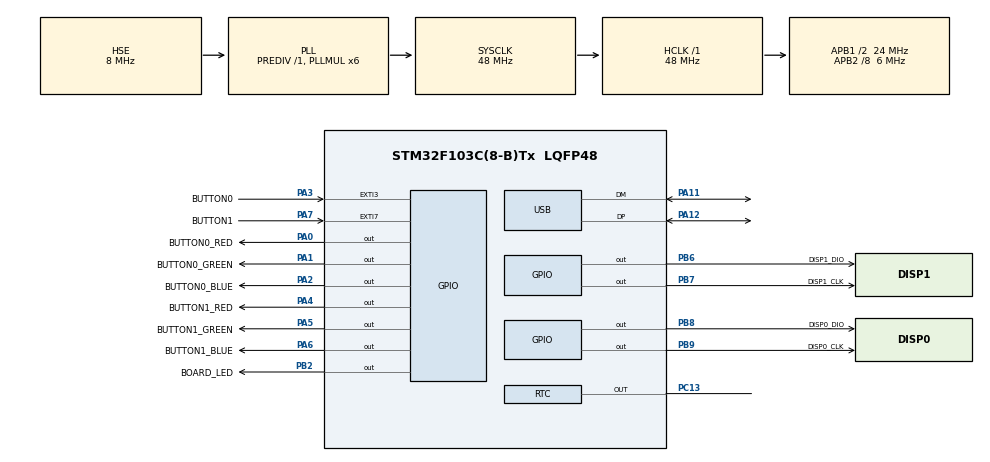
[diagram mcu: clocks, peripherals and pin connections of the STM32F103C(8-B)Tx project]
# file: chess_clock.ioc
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Mcu.Family=STM32F1
Mcu.Name=STM32F103C(8-B)Tx
Mcu.Package=LQFP48
NVIC.EXTI3_IRQn=true\:1\:0\:true\:false\:true\:true\:true\:true
NVIC.EXTI9_5_IRQn=true\:1\:0\:true\:false\:true\:true\:true\:true
NVIC.PriorityGroup=NVIC_PRIORITYGROUP_4
NVIC.RTC_Alarm_IRQn=true\:0\:0\:false\:false\:true\:true\:true\:true
NVIC.RTC_IRQn=true\:0\:0\:false\:false\:true\:true\:true\:true
NVIC.TIM2_IRQn=true\:1\:0\:true\:false\:true\:true\:true\:true
NVIC.TIM3_IRQn=true\:1\:0\:true\:false\:true\:true\:true\:true
NVIC.USB_LP_CAN1_RX0_IRQn=true\:0\:0\:false\:false\:true\:false\:true\:true
PA0-WKUP.GPIO_Label=BUTTON0_RED
PA0-WKUP.PinState=GPIO_PIN_SET
PA0-WKUP.Signal=GPIO_Output
PA1.GPIO_Label=BUTTON0_GREEN
PA1.PinState=GPIO_PIN_SET
PA1.Signal=GPIO_Output
PA11.Mode=Device
PA11.Signal=USB_DM
PA12.Mode=Device
PA12.Signal=USB_DP
PA13.Mode=Serial_Wire
PA13.Signal=SYS_JTMS-SWDIO
PA14.Mode=Serial_Wire
PA14.Signal=SYS_JTCK-SWCLK
PA2.GPIO_Label=BUTTON0_BLUE
PA2.PinState=GPIO_PIN_SET
PA2.Signal=GPIO_Output
PA3.GPIO_Label=BUTTON0
PA3.GPIO_ModeDefaultEXTI=GPIO_MODE_IT_RISING_FALLING
PA3.GPIO_PuPd=GPIO_PULLUP
PA3.Signal=GPXTI3
PA4.GPIO_Label=BUTTON1_RED
PA4.GPIO_ModeDefaultOutputPP=GPIO_MODE_OUTPUT_PP
PA4.GPIO_PuPd=GPIO_NOPULL
PA4.GPIO_Speed=GPIO_SPEED_FREQ_LOW
PA4.PinState=GPIO_PIN_SET
PA4.Signal=GPIO_Output
PA5.GPIO_Label=BUTTON1_GREEN
PA5.GPIO_ModeDefaultOutputPP=GPIO_MODE_OUTPUT_PP
PA5.GPIO_PuPd=GPIO_NOPULL
PA5.GPIO_Speed=GPIO_SPEED_FREQ_LOW
PA5.PinState=GPIO_PIN_SET
PA5.Signal=GPIO_Output
PA6.GPIO_Label=BUTTON1_BLUE
PA6.GPIO_ModeDefaultOutputPP=GPIO_MODE_OUTPUT_PP
PA6.GPIO_PuPd=GPIO_NOPULL
PA6.GPIO_Speed=GPIO_SPEED_FREQ_LOW
PA6.PinState=GPIO_PIN_SET
PA6.Signal=GPIO_Output
PA7.GPIO_Label=BUTTON1
PA7.GPIO_ModeDefaultEXTI=GPIO_MODE_IT_RISING_FALLING
PA7.GPIO_PuPd=GPIO_PULLUP
PA7.Signal=GPXTI7
PB2.GPIO_Label=BOARD_LED
PB2.PinState=GPIO_PIN_SET
PB2.Signal=GPIO_Output
PB6.GPIO_Label=DISP1_DIO
PB6.GPIO_ModeDefaultOutputPP=GPIO_MODE_OUTPUT_OD
PB6.GPIO_PuPd=GPIO_PULLUP
PB6.Signal=GPIO_Output
PB7.GPIO_Label=DISP1_CLK
PB7.GPIO_ModeDefaultOutputPP=GPIO_MODE_OUTPUT_OD
PB7.GPIO_PuPd=GPIO_PULLUP
PB7.Signal=GPIO_Output
PB8.GPIO_Label=DISP0_DIO
PB8.GPIO_ModeDefaultOutputPP=GPIO_MODE_OUTPUT_OD
PB8.GPIO_PuPd=GPIO_PULLUP
PB8.Signal=GPIO_Output
PB9.GPIO_Label=DISP0_CLK
PB9.GPIO_ModeDefaultOutputPP=GPIO_MODE_OUTPUT_OD
PB9.GPIO_PuPd=GPIO_PULLUP
PB9.Signal=GPIO_Output
PC13-TAMPER-RTC.Mode=RTC OUT
PC13-TAMPER-RTC.Signal=RTC_OUT
PC14-OSC32_IN.Mode=LSE-External-Oscillator
PC14-OSC32_IN.Signal=RCC_OSC32_IN
PC15-OSC32_OUT.Mode=LSE-External-Oscillator
PC15-OSC32_OUT.Signal=RCC_OSC32_OUT
PD0-OSC_IN.Mode=HSE-External-Oscillator
PD0-OSC_IN.Signal=RCC_OSC_IN
PD1-OSC_OUT.Mode=HSE-External-Oscillator
PD1-OSC_OUT.Signal=RCC_OSC_OUT
ProjectManager.HeapSize=0x200
ProjectManager.StackSize=0x400
ProjectManager.TargetToolchain=STM32CubeIDE
RCC.AHBFreq_Value=48000000
RCC.APB1CLKDivider=RCC_HCLK_DIV2
RCC.APB1Freq_Value=24000000
RCC.APB1TimFreq_Value=48000000
RCC.APB2CLKDivider=RCC_HCLK_DIV8
RCC.APB2Freq_Value=6000000
RCC.APB2TimFreq_Value=12000000
RCC.HCLKFreq_Value=48000000
RCC.PLLMUL=RCC_PLL_MUL6
RCC.PLLSourceVirtual=RCC_PLLSOURCE_HSE
RCC.RTCClockSelection=RCC_RTCCLKSOURCE_LSE
RCC.SYSCLKFreq_VALUE=48000000
RCC.SYSCLKSource=RCC_SYSCLKSOURCE_PLLCLK
RCC.USBFreq_Value=48000000
RTC.Format=RTC_FORMAT_BIN
TIM2.Period=499
TIM2.Prescaler=47999
TIM3.Period=999
TIM3.Prescaler=47999
USB_DEVICE.CLASS_NAME_FS=CDC
USB_DEVICE.VirtualMode=Cdc
USB_DEVICE.VirtualModeFS=Cdc_FS
VP_RTC_VS_RTC_Activate.Mode=RTC_Enabled
VP_RTC_VS_RTC_Calendar.Mode=RTC_Calendar
VP_TIM2_VS_ClockSourceINT.Mode=Internal
VP_TIM3_VS_ClockSourceINT.Mode=Internal
VP_USB_DEVICE_VS_USB_DEVICE_CDC_FS.Mode=CDC_FS
board=custom

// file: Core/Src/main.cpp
/* USER CODE BEGIN Header */
/**
  ******************************************************************************
  * @file           : main.c
  * @brief          : Main program body
  ******************************************************************************
  * @attention
  *
  * Copyright (c) 2025 STMicroelectronics.
  * All rights reserved.
  *
  * This software is licensed under terms that can be found in the LICENSE file
  * in the root directory of this software component.
  * If no LICENSE file comes with this software, it is provided AS-IS.
  *
  ******************************************************************************
  */
/* USER CODE END Header */
#include "main.hpp"
#include "usb_device.h"

/* USER CODE BEGIN Includes */
#include <button.hpp>
#include <timer.hpp>
#include <tm1637.hpp>
#include "usbd_cdc_if.h"
/* USER CODE END Includes */

RTC_HandleTypeDef hrtc;

TIM_HandleTypeDef htim2;
TIM_HandleTypeDef htim3;

/* USER CODE BEGIN PV */
Button button0 = Button(BUTTON0_GPIO_Port, BUTTON0_RED_Pin, BUTTON0_GREEN_Pin,
		BUTTON0_BLUE_Pin, BUTTON0_Pin);
Button button1 = Button(BUTTON1_GPIO_Port, BUTTON1_RED_Pin, BUTTON1_GREEN_Pin,
		BUTTON1_BLUE_Pin, BUTTON1_Pin);

// disp0 и button0 - слева, disp1 и button1 - справа
TM1637 disp0 = TM1637(DISP0_CLK_GPIO_Port, DISP0_DIO_Pin, DISP0_CLK_Pin);
TM1637 disp1 = TM1637(DISP1_CLK_GPIO_Port, DISP1_DIO_Pin, DISP1_CLK_Pin);

Timer tim0 = Timer(&disp0);
Timer tim1 = Timer(&disp1);

fsmState state;

// Player 1 00:00:00\n => 18 байт
char usbBuf[32];

/* USER CODE END PV */

void SystemClock_Config(void);
static void MX_GPIO_Init(void);
static void MX_RTC_Init(void);
static void MX_TIM2_Init(void);
static void MX_TIM3_Init(void);
/* USER CODE BEGIN PFP */
void HAL_RTCEx_RTCEventCallback(RTC_HandleTypeDef *hrtc);
void DisplayGlobalTime(TM1637 *, TM1637 *, RTC_TimeTypeDef);
void CDCTransmitTime(RTC_TimeTypeDef time, uint8_t);
void GameEndAnimation();
/* USER CODE END PFP */

int main(void)
{

  /* MCU Configuration--------------------------------------------------------*/

  /* Reset of all peripherals, Initializes the Flash interface and the Systick. */
  HAL_Init();

  /* Configure the system clock */
  SystemClock_Config();

  /* Initialize all configured peripherals */
  MX_GPIO_Init();
  MX_RTC_Init();
  MX_TIM2_Init();
  MX_TIM3_Init();
  MX_USB_DEVICE_Init();
  /* USER CODE BEGIN 2 */
  // TIM2 отвечает за синхронное мигание всех элементов, работает всегда
  HAL_TIM_Base_Start_IT(&htim2);

  // Включаем ежесекундное прерывание RTC для работы таймеров
  HAL_RTCEx_SetSecond_IT(&hrtc);

  // Начальные выходные сигналы
  button0.SetLed(GREEN, BLINKING);
  button1.SetLed(BLUE, NORMAL);

  disp0.Reset();
  disp1.Reset();

  disp0.SetBlinkMode(BLINK_LOW);

  // Начальное состояние автомата при включении устройства
  state = fsmState::SETUP_HOUR;
  /* USER CODE END 2 */

  /* Infinite loop */
  while (1)
  {

    /* USER CODE BEGIN 3 */
	switch (state) {

		case SETUP_HOUR:
			if (button0.isShortPressed) {
				button0.ClearShortPressed();
				Timer::AddHour();
				DisplayGlobalTime(&disp0, &disp1, Timer::globalTime);
			} else if (button1.isShortPressed) {
				button1.ClearShortPressed();
				disp0.SetBlinkMode(NO_BLINK);
				disp1.SetBlinkMode(BLINK_HIGH);
				state = SETUP_MIN;
			} else if (button0.isPressed) {
				Timer::AddHour(true);
				DisplayGlobalTime(&disp0, &disp1, Timer::globalTime);
			}
			break;

		case SETUP_MIN:
			if (button0.isShortPressed) {
				button0.ClearShortPressed();
				Timer::AddMinute();
				DisplayGlobalTime(&disp0, &disp1, Timer::globalTime);
			} else if (button1.isShortPressed) {
				button1.ClearShortPressed();
				disp1.SetBlinkMode(BLINK_LOW);
				state = SETUP_SEC;
			} else if (button0.isPressed) {
				Timer::AddMinute(true);
				DisplayGlobalTime(&disp0, &disp1, Timer::globalTime);
			}
			break;

		case SETUP_SEC:
			if (button0.isShortPressed) {
				button0.ClearShortPressed();
				Timer::AddSecond();
				DisplayGlobalTime(&disp0, &disp1, Timer::globalTime);
			} else if (button1.isShortPressed) {
				button1.ClearShortPressed();
				disp0.SetBlinkMode(BLINK_LOW);
				disp1.SetBlinkMode(NO_BLINK);
				state = SETUP_HOUR;
			} else if (button0.isPressed) {
				Timer::AddSecond(true);
				DisplayGlobalTime(&disp0, &disp1, Timer::globalTime);
			} else if (button1.isPressed) {
				disp0.SetBlinkMode(BLINK);
				disp1.SetBlinkMode(BLINK);
				button0.SetLed(GREEN, BLINKING);
				button1.SetLed(GREEN, BLINKING);
				tim0.SetTimeFromGlobal();
				tim1.SetTimeFromGlobal();
				state = START_OR_PAUSE;
			}
			break;

		// --------------------------------------------------------------------

		case START_OR_PAUSE:

			if (button0.isShortPressed) {
				button0.ClearShortPressed();
				tim0.Start();
				button0.SetLed(GREEN, NORMAL);
				button1.SetLed(GREEN, OFF);
				disp0.SetBlinkMode(NO_BLINK);
				disp1.SetBlinkMode(NO_BLINK);
				state = TIM0_ON;
			} else if (button1.isShortPressed) {
				button1.ClearShortPressed();
				tim1.Start();
				button0.SetLed(GREEN, OFF);
				button1.SetLed(GREEN, NORMAL);
				disp0.SetBlinkMode(NO_BLINK);
				disp1.SetBlinkMode(NO_BLINK);
				state = TIM1_ON;
			} else if (button0.isPressed && button1.isPressed) {
				tim0.Stop();
				tim1.Stop();
				state = END;
			}
			break;

		case WAIT_BEFORE_PAUSE:
			if (!(button0.isPressed || button1.isPressed)) {
				button0.ClearShortPressed();
				button1.ClearShortPressed();
				state = START_OR_PAUSE;
			}

			break;

		// --------------------------------------------------------------------

		case TIM0_ON:
			if (button0.isShortPressed) {
				button0.ClearShortPressed();
				tim0.Stop();
				tim1.Start();
				button0.SetLed(GREEN, OFF);
				button1.SetLed(GREEN, NORMAL);
				state = TIM1_ON;
			} else if (button1.isShortPressed) {
				button1.ClearShortPressed();
				tim0.Add5Sec();
			} else if (button0.isPressed && button1.isPressed) {
				disp0.SetBlinkMode(BLINK);
				disp1.SetBlinkMode(BLINK);
				button0.SetLed(GREEN, BLINKING);
				button1.SetLed(GREEN, BLINKING);
				tim0.Stop();
				tim1.Stop();
				state = WAIT_BEFORE_PAUSE;
			} else if (tim0.isUp) {
				tim0.Stop();
				tim1.Stop();
				state = END;
			}
			break;

		// --------------------------------------------------------------------

		case TIM1_ON:
			if (button1.isShortPressed) {
				button1.ClearShortPressed();
				tim0.Start();
				tim1.Stop();
				button0.SetLed(GREEN, NORMAL);
				button1.SetLed(GREEN, OFF);
				state = TIM0_ON;
			} else if (button0.isShortPressed) {
				button0.ClearShortPressed();
				tim1.Add5Sec();
			} else if (button0.isPressed && button1.isPressed) {
				disp0.SetBlinkMode(BLINK);
				disp1.SetBlinkMode(BLINK);
				button0.SetLed(GREEN, BLINKING);
				button1.SetLed(GREEN, BLINKING);
				tim0.Stop();
				tim1.Stop();
				state = WAIT_BEFORE_PAUSE;
			} else if (tim1.isUp) {
				tim0.Stop();
				tim1.Stop();
				state = END;
			}
			break;

		// --------------------------------------------------------------------

		case END:
			tim0.Reset();
			tim1.Reset();
			disp0.Reset();
			disp1.Reset();
			GameEndAnimation();
			Timer::ResetGlobal();
			button0.SetLed(GREEN, BLINKING);
			button1.SetLed(BLUE, NORMAL);
			disp0.SetBlinkMode(BLINK_LOW);
			state = SETUP_HOUR;
			break;
		default:
			break;
	}
  }
  /* USER CODE END 3 */
}

void SystemClock_Config(void)
{
  RCC_OscInitTypeDef RCC_OscInitStruct = {0};
  RCC_ClkInitTypeDef RCC_ClkInitStruct = {0};
  RCC_PeriphCLKInitTypeDef PeriphClkInit = {0};

  /** Initializes the RCC Oscillators according to the specified parameters
  * in the RCC_OscInitTypeDef structure.
  */
  RCC_OscInitStruct.OscillatorType = RCC_OSCILLATORTYPE_HSE|RCC_OSCILLATORTYPE_LSE;
  RCC_OscInitStruct.HSEState = RCC_HSE_ON;
  RCC_OscInitStruct.HSEPredivValue = RCC_HSE_PREDIV_DIV1;
  RCC_OscInitStruct.LSEState = RCC_LSE_ON;
  RCC_OscInitStruct.HSIState = RCC_HSI_ON;
  RCC_OscInitStruct.PLL.PLLState = RCC_PLL_ON;
  RCC_OscInitStruct.PLL.PLLSource = RCC_PLLSOURCE_HSE;
  RCC_OscInitStruct.PLL.PLLMUL = RCC_PLL_MUL6;
  if (HAL_RCC_OscConfig(&RCC_OscInitStruct) != HAL_OK)
  {
    Error_Handler();
  }

  /** Initializes the CPU, AHB and APB buses clocks
  */
  RCC_ClkInitStruct.ClockType = RCC_CLOCKTYPE_HCLK|RCC_CLOCKTYPE_SYSCLK
                              |RCC_CLOCKTYPE_PCLK1|RCC_CLOCKTYPE_PCLK2;
  RCC_ClkInitStruct.SYSCLKSource = RCC_SYSCLKSOURCE_PLLCLK;
  RCC_ClkInitStruct.AHBCLKDivider = RCC_SYSCLK_DIV1;
  RCC_ClkInitStruct.APB1CLKDivider = RCC_HCLK_DIV2;
  RCC_ClkInitStruct.APB2CLKDivider = RCC_HCLK_DIV8;

  if (HAL_RCC_ClockConfig(&RCC_ClkInitStruct, FLASH_LATENCY_1) != HAL_OK)
  {
    Error_Handler();
  }
  PeriphClkInit.PeriphClockSelection = RCC_PERIPHCLK_RTC|RCC_PERIPHCLK_USB;
  PeriphClkInit.RTCClockSelection = RCC_RTCCLKSOURCE_LSE;
  PeriphClkInit.UsbClockSelection = RCC_USBCLKSOURCE_PLL;
  if (HAL_RCCEx_PeriphCLKConfig(&PeriphClkInit) != HAL_OK)
  {
    Error_Handler();
  }
}

static void MX_RTC_Init(void)
{

  RTC_TimeTypeDef sTime = {0};
  RTC_DateTypeDef DateToUpdate = {0};
  RTC_AlarmTypeDef sAlarm = {0};

  /** Initialize RTC Only
  */
  hrtc.Instance = RTC;
  hrtc.Init.AsynchPrediv = RTC_AUTO_1_SECOND;
  hrtc.Init.OutPut = RTC_OUTPUTSOURCE_ALARM;
  if (HAL_RTC_Init(&hrtc) != HAL_OK)
  {
    Error_Handler();
  }

  /** Initialize RTC and set the Time and Date
  */
  sTime.Hours = 0;
  sTime.Minutes = 0;
  sTime.Seconds = 0;

  if (HAL_RTC_SetTime(&hrtc, &sTime, RTC_FORMAT_BIN) != HAL_OK)
  {
    Error_Handler();
  }
  DateToUpdate.WeekDay = RTC_WEEKDAY_MONDAY;
  DateToUpdate.Month = RTC_MONTH_JANUARY;
  DateToUpdate.Date = 1;
  DateToUpdate.Year = 0;

  if (HAL_RTC_SetDate(&hrtc, &DateToUpdate, RTC_FORMAT_BIN) != HAL_OK)
  {
    Error_Handler();
  }

  /** Enable the Alarm A
  */
  sAlarm.AlarmTime.Hours = 0;
  sAlarm.AlarmTime.Minutes = 0;
  sAlarm.AlarmTime.Seconds = 0;
  sAlarm.Alarm = RTC_ALARM_A;
  if (HAL_RTC_SetAlarm_IT(&hrtc, &sAlarm, RTC_FORMAT_BIN) != HAL_OK)
  {
    Error_Handler();
  }

}

static void MX_TIM2_Init(void)
{

  TIM_ClockConfigTypeDef sClockSourceConfig = {0};
  TIM_MasterConfigTypeDef sMasterConfig = {0};

  htim2.Instance = TIM2;
  htim2.Init.Prescaler = 47999;
  htim2.Init.CounterMode = TIM_COUNTERMODE_UP;
  htim2.Init.Period = 499;
  htim2.Init.ClockDivision = TIM_CLOCKDIVISION_DIV1;
  htim2.Init.AutoReloadPreload = TIM_AUTORELOAD_PRELOAD_DISABLE;
  if (HAL_TIM_Base_Init(&htim2) != HAL_OK)
  {
    Error_Handler();
  }
  sClockSourceConfig.ClockSource = TIM_CLOCKSOURCE_INTERNAL;
  if (HAL_TIM_ConfigClockSource(&htim2, &sClockSourceConfig) != HAL_OK)
  {
    Error_Handler();
  }
  sMasterConfig.MasterOutputTrigger = TIM_TRGO_RESET;
  sMasterConfig.MasterSlaveMode = TIM_MASTERSLAVEMODE_DISABLE;
  if (HAL_TIMEx_MasterConfigSynchronization(&htim2, &sMasterConfig) != HAL_OK)
  {
    Error_Handler();
  }

}

static void MX_TIM3_Init(void)
{

  TIM_ClockConfigTypeDef sClockSourceConfig = {0};
  TIM_MasterConfigTypeDef sMasterConfig = {0};

  htim3.Instance = TIM3;
  htim3.Init.Prescaler = 47999;
  htim3.Init.CounterMode = TIM_COUNTERMODE_UP;
  htim3.Init.Period = 999;
  htim3.Init.ClockDivision = TIM_CLOCKDIVISION_DIV1;
  htim3.Init.AutoReloadPreload = TIM_AUTORELOAD_PRELOAD_DISABLE;
  if (HAL_TIM_Base_Init(&htim3) != HAL_OK)
  {
    Error_Handler();
  }
  sClockSourceConfig.ClockSource = TIM_CLOCKSOURCE_INTERNAL;
  if (HAL_TIM_ConfigClockSource(&htim3, &sClockSourceConfig) != HAL_OK)
  {
    Error_Handler();
  }
  sMasterConfig.MasterOutputTrigger = TIM_TRGO_RESET;
  sMasterConfig.MasterSlaveMode = TIM_MASTERSLAVEMODE_DISABLE;
  if (HAL_TIMEx_MasterConfigSynchronization(&htim3, &sMasterConfig) != HAL_OK)
  {
    Error_Handler();
  }

}

static void MX_GPIO_Init(void)
{
  GPIO_InitTypeDef GPIO_InitStruct = {0};

  /* GPIO Ports Clock Enable */
  __HAL_RCC_GPIOC_CLK_ENABLE();
  __HAL_RCC_GPIOD_CLK_ENABLE();
  __HAL_RCC_GPIOA_CLK_ENABLE();
  __HAL_RCC_GPIOB_CLK_ENABLE();

  /*Configure GPIO pin Output Level */
  HAL_GPIO_WritePin(GPIOA, BUTTON0_RED_Pin|BUTTON0_GREEN_Pin|BUTTON0_BLUE_Pin|BUTTON1_RED_Pin
                          |BUTTON1_GREEN_Pin|BUTTON1_BLUE_Pin, GPIO_PIN_SET);

  /*Configure GPIO pin Output Level */
  HAL_GPIO_WritePin(BOARD_LED_GPIO_Port, BOARD_LED_Pin, GPIO_PIN_SET);

  /*Configure GPIO pin Output Level */
  HAL_GPIO_WritePin(GPIOB, DISP1_DIO_Pin|DISP1_CLK_Pin|DISP0_DIO_Pin|DISP0_CLK_Pin, GPIO_PIN_RESET);

  /*Configure GPIO pins : BUTTON0_RED_Pin BUTTON0_GREEN_Pin BUTTON0_BLUE_Pin BUTTON1_RED_Pin
                           BUTTON1_GREEN_Pin BUTTON1_BLUE_Pin */
  GPIO_InitStruct.Pin = BUTTON0_RED_Pin|BUTTON0_GREEN_Pin|BUTTON0_BLUE_Pin|BUTTON1_RED_Pin
                          |BUTTON1_GREEN_Pin|BUTTON1_BLUE_Pin;
  GPIO_InitStruct.Mode = GPIO_MODE_OUTPUT_PP;
  GPIO_InitStruct.Pull = GPIO_NOPULL;
  GPIO_InitStruct.Speed = GPIO_SPEED_FREQ_LOW;
  HAL_GPIO_Init(GPIOA, &GPIO_InitStruct);

  /*Configure GPIO pins : BUTTON0_Pin BUTTON1_Pin */
  GPIO_InitStruct.Pin = BUTTON0_Pin|BUTTON1_Pin;
  GPIO_InitStruct.Mode = GPIO_MODE_IT_RISING_FALLING;
  GPIO_InitStruct.Pull = GPIO_PULLUP;
  HAL_GPIO_Init(GPIOA, &GPIO_InitStruct);

  /*Configure GPIO pin : BOARD_LED_Pin */
  GPIO_InitStruct.Pin = BOARD_LED_Pin;
  GPIO_InitStruct.Mode = GPIO_MODE_OUTPUT_PP;
  GPIO_InitStruct.Pull = GPIO_NOPULL;
  GPIO_InitStruct.Speed = GPIO_SPEED_FREQ_LOW;
  HAL_GPIO_Init(BOARD_LED_GPIO_Port, &GPIO_InitStruct);

  /*Configure GPIO pins : DISP1_DIO_Pin DISP1_CLK_Pin DISP0_DIO_Pin DISP0_CLK_Pin */
  GPIO_InitStruct.Pin = DISP1_DIO_Pin|DISP1_CLK_Pin|DISP0_DIO_Pin|DISP0_CLK_Pin;
  GPIO_InitStruct.Mode = GPIO_MODE_OUTPUT_OD;
  GPIO_InitStruct.Pull = GPIO_PULLUP;
  GPIO_InitStruct.Speed = GPIO_SPEED_FREQ_LOW;
  HAL_GPIO_Init(GPIOB, &GPIO_InitStruct);

  /* EXTI interrupt init*/
  HAL_NVIC_SetPriority(EXTI3_IRQn, 1, 0);
  HAL_NVIC_EnableIRQ(EXTI3_IRQn);

  HAL_NVIC_SetPriority(EXTI9_5_IRQn, 1, 0);
  HAL_NVIC_EnableIRQ(EXTI9_5_IRQn);

}

/* USER CODE BEGIN 4 */
// button0
void EXTI3_Callback() {
	__disable_irq();
	// кнопка нажата и таймер не запущен - запускаем таймер
	if (HAL_GPIO_ReadPin(BUTTON0_GPIO_Port, BUTTON0_Pin) == GPIO_PIN_RESET
			&& !(TIM3->CR1 & TIM_CR1_CEN)) {
		TIM3->CNT = 0x0;
		HAL_TIM_Base_Start_IT(&htim3);
	}
	// кнопка отжата ...
	if (HAL_GPIO_ReadPin(BUTTON0_GPIO_Port, BUTTON0_Pin) == GPIO_PIN_SET) {
		/* ... и таймер не переполнился - короткое нажатие
		 * ставим флаг isShortPressed и останавливаем таймер
		 */
		if (!button0.isPressed && (TIM3->CR1 & TIM_CR1_CEN)) {
			HAL_TIM_Base_Stop_IT(&htim3);
			TIM3->CNT = 0x0;
			button0.isShortPressed = true;
		}
		/* ... и таймер переполнился и выключился - долгое нажатие
		 * флаг isPressed уже выставлен в TIM3_PeriodElapsedCallback
		 * здесь его убираем (кнопку уже отпустили)
		 */
		else {
			button0.isPressed = false;
			TIM3->CNT = 0x0;
		}
	}
	__enable_irq();
}

// button1
void EXTI9_5_Callback() {
	__disable_irq();
	// кнопка нажата и таймер не запущен - запускаем таймер
	if (HAL_GPIO_ReadPin(BUTTON1_GPIO_Port, BUTTON1_Pin) == GPIO_PIN_RESET
			&& !(TIM3->CR1 & TIM_CR1_CEN)) {
		TIM3->CNT = 0x0;
		HAL_TIM_Base_Start_IT(&htim3);
	}
	// кнопка отжата ...
	if (HAL_GPIO_ReadPin(BUTTON1_GPIO_Port, BUTTON1_Pin) == GPIO_PIN_SET) {
		/* ... и таймер не переполнился - короткое нажатие
		 * ставим флаг isShortPressed и останавливаем таймер
		 */
		if (!button1.isPressed && (TIM3->CR1 & TIM_CR1_CEN)) {
			HAL_TIM_Base_Stop_IT(&htim3);
			TIM3->CNT = 0x0;
			button1.isShortPressed = true;
		}
		/* ... и таймер переполнился и выключился - долгое нажатие
		 * флаг isPressed уже выставлен в TIM3_PeriodElapsedCallback
		 * здесь его убираем (кнопку уже отпустили)
		 */
		else {
			button1.isPressed = false;
			TIM3->CNT = 0x0;
		}
	}
	__enable_irq();
}

// TIM2 отвечает за синхронное мигание всех элементов
// Переполнение через 500мс
void TIM2_PeriodElapsedCallback() {
	__disable_irq();
	if (button0.isBlinking) button0.ToggleLed();
	if (button1.isBlinking) button1.ToggleLed();
	if (disp0.isBlinking) disp0.Toggle();
	if (disp1.isBlinking) disp1.Toggle();
	__enable_irq();
}

// TIM3 отвечает за короткое/длинное нажатие кнопок
// Переполнение через 1000мс
void TIM3_PeriodElapsedCallback() {
	__disable_irq();
	/* таймер успел переполниться (значит кнопка не отжата) - ставим флаг isPressed
	 * и останавливаем таймер
	 */
	HAL_TIM_Base_Stop_IT(&htim3);
	if (HAL_GPIO_ReadPin(BUTTON0_GPIO_Port, BUTTON0_Pin) == GPIO_PIN_RESET) {
		button0.isPressed = true;
	}
	if (HAL_GPIO_ReadPin(BUTTON1_GPIO_Port, BUTTON1_Pin) == GPIO_PIN_RESET) {
		button1.isPressed = true;
	}
	TIM3->CNT = 0x0;
	__enable_irq();
}

// Прерывание каждую секунду по RTC
void HAL_RTCEx_RTCEventCallback(RTC_HandleTypeDef *hrtc) {
	__disable_irq();
	HAL_GPIO_TogglePin(BOARD_LED_GPIO_Port, BOARD_LED_Pin);
	if (tim0.isOn) {
		CDCTransmitTime(tim0.Tick(), 0);
	}
	if (tim1.isOn) {
		CDCTransmitTime(tim1.Tick(), 1);
	}
	__enable_irq();
}

// Отображение времени в формате 00:HH MM:SS на оба дисплея во время настройки
void DisplayGlobalTime(TM1637 *_disp0, TM1637 *_disp1, RTC_TimeTypeDef _globalTime) {
	_disp0->Display(0x2, _globalTime.Hours / 10);
	_disp0->Display(0x3, _globalTime.Hours % 10);

	_disp1->Display(0x0, _globalTime.Minutes / 10);
	_disp1->Display(0x1, _globalTime.Minutes % 10);
	_disp1->Display(0x2, _globalTime.Seconds / 10);
	_disp1->Display(0x3, _globalTime.Seconds % 10);
}

void CDCTransmitTime(RTC_TimeTypeDef time, uint8_t playerNum) {
	snprintf(usbBuf, sizeof(usbBuf),
			"Player %d %02d:%02d:%02d\n",
			playerNum,
			time.Hours,
			time.Minutes,
			time.Seconds);
	CDC_Transmit_FS((uint8_t*)&usbBuf, sizeof(usbBuf));
}

// Анимация, включается в конце игры
void GameEndAnimation() {
	button0.SetLed(RED, BLINKING);
	button1.SetLed(RED, BLINKING);
	disp0.SetBlinkMode(BLINK);
	disp1.SetBlinkMode(BLINK);
	HAL_Delay(3000);
	disp0.SetBlinkMode(NO_BLINK);
	disp1.SetBlinkMode(NO_BLINK);
}
/* USER CODE END 4 */

void Error_Handler(void)
{
  __disable_irq();
  while (1)
  {
  }
}
